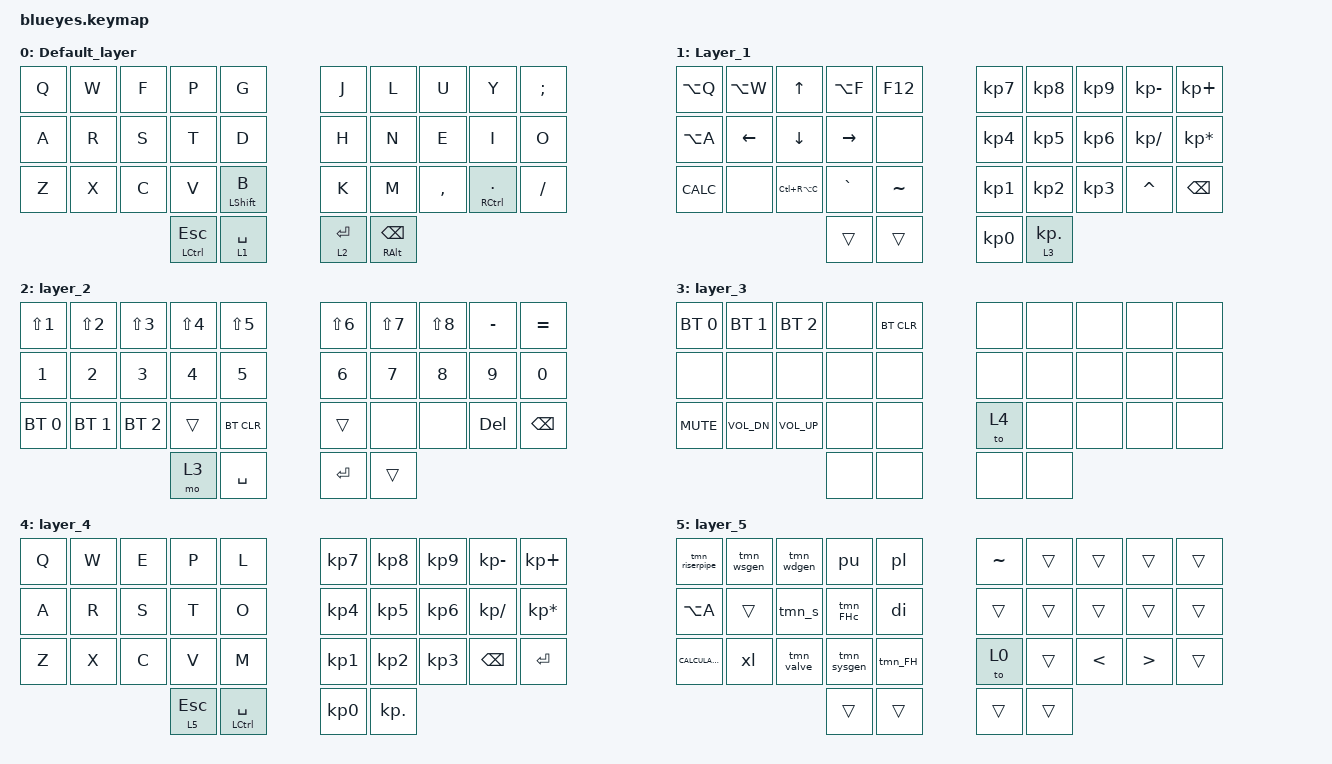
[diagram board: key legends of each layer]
/*
* Copyright (c) 2021 The ZMK Contributors
*
* SPDX-License-Identifier: MIT
*/

#include <behaviors.dtsi>
#include <dt-bindings/zmk/bt.h>
#include <dt-bindings/zmk/keys.h>

#define Default_layer 0
#define Layer_1 1

/ {
    behaviors {
        tab_space_ctrl: tab_space_ctrl {
            compatible = "zmk,behavior-tap-dance";
            label = "TAB_ESC_CTRL";
            #binding-cells = <0>;
            bindings = <&mt LCTRL SPACE>, <&kp TAB>;
        };

        hm: homerow_mods {
            compatible = "zmk,behavior-hold-tap";
            label = "homerow mods";
            #binding-cells = <2>;
            tapping_term_ms = <200>;
            flavor = "tap-preferred";
            bindings = <&kp>, <&kp>;
        };

        qt: quick_tap {
            compatible = "zmk,behavior-hold-tap";
            label = "QUICK_TAP";
            #binding-cells = <2>;
            tapping-term-ms = <180>;
            quick-tap-ms = <225>;
            flavor = "hold-preferred";
            bindings = <&kp>, <&kp>;
        };

        qtl: quick_tap_layer {
            compatible = "zmk,behavior-hold-tap";
            label = "QUICK_TAP_LAYER";
            #binding-cells = <2>;
            tapping-term-ms = <180>;
            quick-tap-ms = <225>;
            flavor = "hold-preferred";
            bindings = <&mo>, <&kp>;
        };
    };

    macros {
        pl: pl {
            compatible = "zmk,behavior-macro";
            label = "PL";
            #binding-cells = <0>;
            bindings = <&kp P &kp L &kp ENTER>;
        };

        xl: xl {
            compatible = "zmk,behavior-macro";
            label = "XL";
            #binding-cells = <0>;
            bindings = <&kp X &kp L &kp ENTER>;
        };

        pu: pu {
            compatible = "zmk,behavior-macro";
            label = "PU";
            #binding-cells = <0>;
            bindings = <&kp P &kp U &kp ENTER>;
        };

        di: di {
            compatible = "zmk,behavior-macro";
            label = "DI";
            #binding-cells = <0>;
            bindings = <&kp D &kp I &kp ENTER>;
        };

        tmn_s: tmn_s {
            compatible = "zmk,behavior-macro";
            label = "TMN_S";
            #binding-cells = <0>;
            bindings = <&kp G &kp X &kp Y &kp C &kp ENTER>;
        };

        tmn_FH: tmn_FH {
            compatible = "zmk,behavior-macro";
            label = "TMN_FH";
            #binding-cells = <0>;
            bindings = <&kp B &kp X &kp H &kp S &kp ENTER>;
        };

        tmn_FHc: tmn_FHc {
            compatible = "zmk,behavior-macro";
            label = "TMN_FHC";
            #binding-cells = <0>;
            bindings = <&kp L &kp X &kp H &kp S &kp ENTER>;
        };

        tmn_sysgen: tmn_sysgen {
            compatible = "zmk,behavior-macro";
            label = "TMN_SYSGEN";
            #binding-cells = <0>;
            bindings = <&kp X &kp T &kp F &kp J &kp ENTER>;
        };

        tmn_valve: tmn_valve {
            compatible = "zmk,behavior-macro";
            label = "TMN_VALVE";
            #binding-cells = <0>;
            bindings = <&kp F &kp M &kp F &kp J &kp ENTER>;
        };

        tmn_riserpipe: tmn_riserpipe {
            compatible = "zmk,behavior-macro";
            label = "TMN_RISERPIPE";
            #binding-cells = <0>;
            bindings = <&kp L &kp G &kp B &kp Z &kp ENTER>;
        };

        tmn_wsgen: tmn_wsgen {
            compatible = "zmk,behavior-macro";
            label = "TMN_WSGEN";
            #binding-cells = <0>;
            bindings = <&kp G &kp S &kp F &kp J &kp ENTER>;
        };

        tmn_wdgen: tmn_wdgen {
            compatible = "zmk,behavior-macro";
            label = "TMN_WDGEN";
            #binding-cells = <0>;
            bindings = <&kp P &kp S &kp F &kp J &kp ENTER>;
        };
    };

    combos {
        compatible = "zmk,combos";

        tab {
            bindings = <&kp TAB>;
            key-positions = <0 1>;
            layers = <0 4>;
            timeout-ms = <40>;
        };

        shift {
            bindings = <&kp LEFT_SHIFT>;
            key-positions = <20 29>;
            layers = <0>;
        };

        ctrl_plus_alt {
            bindings = <&kp LC(LS(LCTRL))>;
            key-positions = <38 37 10 20>;
            layers = <0 1 2>;
        };

        combo_f1 {
            bindings = <&kp F1>;
            key-positions = <0 10>;
            layers = <0 2 1>;
        };

        combo_f2 {
            bindings = <&kp F2>;
            key-positions = <1 11>;
            layers = <0 1 2>;
        };

        combo_f3 {
            bindings = <&kp F3>;
            key-positions = <2 12>;
            layers = <2 1 0>;
        };

        combo_f4 {
            bindings = <&kp F4>;
            key-positions = <3 13>;
            layers = <2 1 0>;
        };

        combo_f5 {
            bindings = <&kp F5>;
            key-positions = <4 14>;
            layers = <2 1 0>;
        };

        combo_f8 {
            bindings = <&kp F8>;
            key-positions = <1 3>;
            layers = <4>;
            timeout-ms = <40>;
        };

        cb_lpar {
            bindings = <&kp LEFT_PARENTHESIS>;
            key-positions = <3 4>;
        };

        cb_rlar {
            bindings = <&kp RIGHT_PARENTHESIS>;
            key-positions = <5 6>;
        };

        cb_lbkt {
            bindings = <&kp LEFT_BRACKET>;
            key-positions = <13 14>;
        };

        cb_rbkt {
            bindings = <&kp RIGHT_BRACKET>;
            key-positions = <15 16>;
        };

        cb_lbrc {
            bindings = <&kp LEFT_BRACE>;
            key-positions = <23 24>;
        };

        cb_rbrc {
            bindings = <&kp RIGHT_BRACE>;
            key-positions = <25 26>;
        };

        cb_altf4 {
            bindings = <&kp LA(F4)>;
            key-positions = <0 24>;
        };

        cb_quotedoubl {
            bindings = <&kp DOUBLE_QUOTES>;
            key-positions = <12 13>;
        };

        cb_quotesingle {
            bindings = <&kp SINGLE_QUOTE>;
            key-positions = <11 12>;
        };
    };

    keymap {
        compatible = "zmk,keymap";

        Default_layer {
            bindings = <
&kp Q  &kp W  &kp F  &kp P                    &kp G             &kp J         &kp L                    &kp U      &kp Y                  &kp SEMI
&kp A  &kp R  &kp S  &kp T                    &kp D             &kp H         &kp N                    &kp E      &kp I                  &kp O
&kp Z  &kp X  &kp C  &kp V                    &hm LEFT_SHIFT B  &kp K         &kp M                    &kp COMMA  &hm RIGHT_CONTROL DOT  &kp FSLH
                     &qt LEFT_CONTROL ESCAPE  &qtl 1 SPACE      &qtl 2 ENTER  &qt RIGHT_ALT BACKSPACE
            >;
        };

        Layer_1 {
            bindings = <
&kp LA(Q)   &kp LA(W)       &kp UP_ARROW    &kp LA(F)        &kp F12    &kp KP_N7        &kp KP_NUMBER_8  &kp KP_NUMBER_9  &kp KP_MINUS  &kp KP_PLUS
&kp LA(A)   &kp LEFT_ARROW  &kp DOWN_ARROW  &kp RIGHT_ARROW  &none      &kp KP_NUMBER_4  &kp KP_NUMBER_5  &kp KP_NUMBER_6  &kp KP_SLASH  &kp KP_ASTERISK
&kp K_CALC  &none           &kp LC(RA(C))   &kp GRAVE        &kp TILDE  &kp KP_NUMBER_1  &kp KP_NUMBER_2  &kp KP_NUMBER_3  &kp CARET     &kp BACKSPACE
                                            &trans           &trans     &kp KP_NUMBER_0  &lt 3 KP_DOT
            >;
        };

        layer_2 {
            bindings = <
&kp LS(NUMBER_1)  &kp LS(NUMBER_2)  &kp LS(NUMBER_3)  &kp LS(NUMBER_4)  &kp LS(NUMBER_5)  &kp LS(NUMBER_6)  &kp LS(NUMBER_7)  &kp LS(N8)    &kp MINUS     &kp EQUAL
&kp NUMBER_1      &kp NUMBER_2      &kp NUMBER_3      &kp NUMBER_4      &kp NUMBER_5      &kp NUMBER_6      &kp NUMBER_7      &kp NUMBER_8  &kp NUMBER_9  &kp N0
&bt BT_SEL 0      &bt BT_SEL 1      &bt BT_SEL 2      &trans            &bt BT_CLR        &trans            &none             &none         &kp DELETE    &kp BACKSPACE
                                                      &mo 3             &kp SPACE         &kp ENTER         &trans
            >;
        };

        layer_3 {
            bindings = <
&bt BT_SEL 0  &bt BT_SEL 1  &bt BT_SEL 2  &none  &bt BT_CLR  &none  &none  &none  &none  &none
&none         &none         &none         &none  &none       &none  &none  &none  &none  &none
&kp C_MUTE    &kp C_VOL_DN  &kp C_VOL_UP  &none  &none       &to 4  &none  &none  &none  &none
                                          &none  &none       &none  &none
            >;
        };

        layer_4 {
            bindings = <
&kp Q  &kp W  &kp E  &kp P         &kp L                   &kp KP_NUMBER_7  &kp KP_NUMBER_8  &kp KP_NUMBER_9  &kp KP_MINUS   &kp KP_PLUS
&kp A  &kp R  &kp S  &kp T         &kp O                   &kp KP_NUMBER_4  &kp KP_NUMBER_5  &kp KP_NUMBER_6  &kp KP_SLASH   &kp KP_ASTERISK
&kp Z  &kp X  &kp C  &kp V         &kp M                   &kp KP_NUMBER_1  &kp KP_NUMBER_2  &kp KP_NUMBER_3  &kp BACKSPACE  &kp ENTER
                     &lt 5 ESCAPE  &hm LEFT_CONTROL SPACE  &kp KP_NUMBER_0  &kp KP_DOT
            >;
        };

        layer_5 {
            bindings = <
&tmn_riserpipe    &tmn_wsgen  &tmn_wdgen  &pu          &pl      &kp TILDE  &trans  &trans         &trans            &trans
&kp LA(A)         &trans      &tmn_s      &tmn_FHc     &di      &trans     &trans  &trans         &trans            &trans
&kp K_CALCULATOR  &xl         &tmn_valve  &tmn_sysgen  &tmn_FH  &to 0      &trans  &kp LESS_THAN  &kp GREATER_THAN  &trans
                                          &trans       &trans   &trans     &trans
            >;
        };
    };
};
